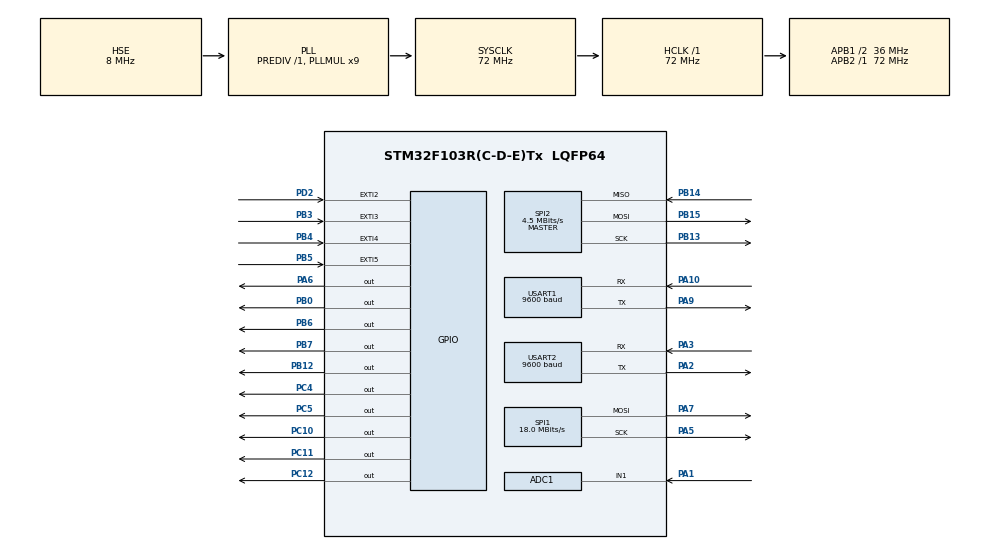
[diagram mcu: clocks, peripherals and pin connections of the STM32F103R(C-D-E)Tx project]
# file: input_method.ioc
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ADC1.Channel-0\#ChannelRegularConversion=ADC_CHANNEL_1
ADC1.ContinuousConvMode=DISABLE
ADC1.NbrOfConversionFlag=1
ADC1.Rank-0\#ChannelRegularConversion=1
ADC1.SamplingTime-0\#ChannelRegularConversion=ADC_SAMPLETIME_1CYCLE_5
ADC1.master=1
Dma.Request0=USART1_RX
Dma.Request1=USART1_TX
Dma.Request2=USART2_RX
Dma.Request3=USART2_TX
Dma.Request4=SPI1_TX
Dma.SPI1_TX.4.Direction=DMA_MEMORY_TO_PERIPH
Dma.SPI1_TX.4.Instance=DMA1_Channel3
Dma.SPI1_TX.4.MemDataAlignment=DMA_MDATAALIGN_BYTE
Dma.SPI1_TX.4.MemInc=DMA_MINC_ENABLE
Dma.SPI1_TX.4.Mode=DMA_NORMAL
Dma.SPI1_TX.4.PeriphDataAlignment=DMA_PDATAALIGN_BYTE
Dma.SPI1_TX.4.PeriphInc=DMA_PINC_DISABLE
Dma.SPI1_TX.4.Priority=DMA_PRIORITY_LOW
Dma.USART1_RX.0.Direction=DMA_PERIPH_TO_MEMORY
Dma.USART1_RX.0.Instance=DMA1_Channel5
Dma.USART1_RX.0.MemDataAlignment=DMA_MDATAALIGN_BYTE
Dma.USART1_RX.0.MemInc=DMA_MINC_ENABLE
Dma.USART1_RX.0.Mode=DMA_NORMAL
Dma.USART1_RX.0.PeriphDataAlignment=DMA_PDATAALIGN_BYTE
Dma.USART1_RX.0.PeriphInc=DMA_PINC_DISABLE
Dma.USART1_RX.0.Priority=DMA_PRIORITY_LOW
Dma.USART1_TX.1.Direction=DMA_MEMORY_TO_PERIPH
Dma.USART1_TX.1.Instance=DMA1_Channel4
Dma.USART1_TX.1.MemDataAlignment=DMA_MDATAALIGN_BYTE
Dma.USART1_TX.1.MemInc=DMA_MINC_ENABLE
Dma.USART1_TX.1.Mode=DMA_NORMAL
Dma.USART1_TX.1.PeriphDataAlignment=DMA_PDATAALIGN_BYTE
Dma.USART1_TX.1.PeriphInc=DMA_PINC_DISABLE
Dma.USART1_TX.1.Priority=DMA_PRIORITY_LOW
Dma.USART2_RX.2.Direction=DMA_PERIPH_TO_MEMORY
Dma.USART2_RX.2.Instance=DMA1_Channel6
Dma.USART2_RX.2.MemDataAlignment=DMA_MDATAALIGN_BYTE
Dma.USART2_RX.2.MemInc=DMA_MINC_ENABLE
Dma.USART2_RX.2.Mode=DMA_NORMAL
Dma.USART2_RX.2.PeriphDataAlignment=DMA_PDATAALIGN_BYTE
Dma.USART2_RX.2.PeriphInc=DMA_PINC_DISABLE
Dma.USART2_RX.2.Priority=DMA_PRIORITY_LOW
Dma.USART2_TX.3.Direction=DMA_MEMORY_TO_PERIPH
Dma.USART2_TX.3.Instance=DMA1_Channel7
Dma.USART2_TX.3.MemDataAlignment=DMA_MDATAALIGN_BYTE
Dma.USART2_TX.3.MemInc=DMA_MINC_ENABLE
Dma.USART2_TX.3.Mode=DMA_NORMAL
Dma.USART2_TX.3.PeriphDataAlignment=DMA_PDATAALIGN_BYTE
Dma.USART2_TX.3.PeriphInc=DMA_PINC_DISABLE
Dma.USART2_TX.3.Priority=DMA_PRIORITY_LOW
Mcu.Family=STM32F1
Mcu.Name=STM32F103R(C-D-E)Tx
Mcu.Package=LQFP64
NVIC.DMA1_Channel3_IRQn=true\:0\:0\:false\:false\:true\:false\:true\:true
NVIC.DMA1_Channel4_IRQn=true\:0\:0\:false\:false\:true\:false\:true\:true
NVIC.DMA1_Channel5_IRQn=true\:0\:0\:false\:false\:true\:false\:true\:true
NVIC.DMA1_Channel6_IRQn=true\:0\:0\:false\:false\:true\:false\:true\:true
NVIC.DMA1_Channel7_IRQn=true\:0\:0\:false\:false\:true\:false\:true\:true
NVIC.EXTI2_IRQn=true\:2\:0\:true\:false\:true\:true\:true\:true
NVIC.EXTI3_IRQn=true\:2\:0\:true\:false\:true\:true\:true\:true
NVIC.EXTI4_IRQn=true\:2\:0\:true\:false\:true\:true\:true\:true
NVIC.EXTI9_5_IRQn=true\:2\:0\:true\:false\:true\:true\:true\:true
NVIC.PriorityGroup=NVIC_PRIORITYGROUP_4
NVIC.SPI1_IRQn=true\:2\:0\:true\:false\:true\:true\:true\:true
NVIC.TIM6_IRQn=true\:1\:0\:true\:false\:true\:true\:true\:true
NVIC.TIM7_IRQn=true\:1\:0\:true\:false\:true\:true\:true\:true
NVIC.USART1_IRQn=true\:0\:0\:false\:false\:true\:true\:true\:true
NVIC.USART2_IRQn=true\:0\:0\:false\:false\:true\:true\:true\:true
PA1.Signal=ADCx_IN1
PA10.Mode=Asynchronous
PA10.Signal=USART1_RX
PA13.Mode=Serial_Wire
PA13.Signal=SYS_JTMS-SWDIO
PA14.Mode=Serial_Wire
PA14.Signal=SYS_JTCK-SWCLK
PA2.Mode=Asynchronous
PA2.Signal=USART2_TX
PA3.Mode=Asynchronous
PA3.Signal=USART2_RX
PA5.Mode=TX_Only_Simplex_Unidirect_Master
PA5.Signal=SPI1_SCK
PA6.Signal=GPIO_Output
PA7.Mode=TX_Only_Simplex_Unidirect_Master
PA7.Signal=SPI1_MOSI
PA9.Mode=Asynchronous
PA9.Signal=USART1_TX
PB0.Signal=GPIO_Output
PB12.Signal=GPIO_Output
PB13.Mode=Full_Duplex_Master
PB13.Signal=SPI2_SCK
PB14.Mode=Full_Duplex_Master
PB14.Signal=SPI2_MISO
PB15.Mode=Full_Duplex_Master
PB15.Signal=SPI2_MOSI
PB3.GPIO_ModeDefaultEXTI=GPIO_MODE_IT_FALLING
PB3.GPIO_PuPd=GPIO_PULLUP
PB3.Signal=GPXTI3
PB4.GPIO_ModeDefaultEXTI=GPIO_MODE_IT_FALLING
PB4.GPIO_PuPd=GPIO_PULLUP
PB4.Signal=GPXTI4
PB5.GPIO_ModeDefaultEXTI=GPIO_MODE_IT_FALLING
PB5.GPIO_PuPd=GPIO_PULLUP
PB5.Signal=GPXTI5
PB6.GPIO_ModeDefaultOutputPP=GPIO_MODE_OUTPUT_OD
PB6.GPIO_PuPd=GPIO_NOPULL
PB6.Signal=GPIO_Output
PB7.GPIO_ModeDefaultOutputPP=GPIO_MODE_OUTPUT_OD
PB7.GPIO_PuPd=GPIO_NOPULL
PB7.Signal=GPIO_Output
PC10.GPIO_PuPd=GPIO_PULLDOWN
PC10.Signal=GPIO_Output
PC11.GPIO_PuPd=GPIO_PULLDOWN
PC11.Signal=GPIO_Output
PC12.GPIO_PuPd=GPIO_PULLDOWN
PC12.Signal=GPIO_Output
PC4.Signal=GPIO_Output
PC5.Signal=GPIO_Output
PD0-OSC_IN.Mode=HSE-External-Oscillator
PD0-OSC_IN.Signal=RCC_OSC_IN
PD1-OSC_OUT.Mode=HSE-External-Oscillator
PD1-OSC_OUT.Signal=RCC_OSC_OUT
PD2.GPIO_ModeDefaultEXTI=GPIO_MODE_IT_FALLING
PD2.GPIO_PuPd=GPIO_PULLUP
PD2.Signal=GPXTI2
ProjectManager.HeapSize=0x200
ProjectManager.StackSize=0x400
ProjectManager.TargetToolchain=Makefile
RCC.ADCPresc=RCC_ADCPCLK2_DIV6
RCC.AHBFreq_Value=72000000
RCC.APB1CLKDivider=RCC_HCLK_DIV2
RCC.APB1Freq_Value=36000000
RCC.APB1TimFreq_Value=72000000
RCC.APB2Freq_Value=72000000
RCC.APB2TimFreq_Value=72000000
RCC.HCLKFreq_Value=72000000
RCC.PLLMUL=RCC_PLL_MUL9
RCC.PLLSourceVirtual=RCC_PLLSOURCE_HSE
RCC.SYSCLKFreq_VALUE=72000000
RCC.SYSCLKSource=RCC_SYSCLKSOURCE_PLLCLK
RCC.USBFreq_Value=72000000
SH.ADCx_IN1.0=ADC1_IN1,IN1
SPI1.BaudRatePrescaler=SPI_BAUDRATEPRESCALER_4
SPI1.CalculateBaudRate=18.0 MBits/s
SPI1.Direction=SPI_DIRECTION_2LINES
SPI1.Mode=SPI_MODE_MASTER
SPI1.VirtualType=VM_MASTER
SPI2.BaudRatePrescaler=SPI_BAUDRATEPRESCALER_8
SPI2.CLKPhase=SPI_PHASE_2EDGE
SPI2.CLKPolarity=SPI_POLARITY_HIGH
SPI2.CalculateBaudRate=4.5 MBits/s
SPI2.Direction=SPI_DIRECTION_2LINES
SPI2.Mode=SPI_MODE_MASTER
SPI2.VirtualType=VM_MASTER
TIM5.Prescaler=71
TIM6.Period=49999
TIM6.Prescaler=71
TIM7.Period=49999
TIM7.Prescaler=71
USART1.BaudRate=9600
USART1.VirtualMode=VM_ASYNC
USART2.BaudRate=9600
USART2.VirtualMode=VM_ASYNC
VP_TIM5_VS_ClockSourceINT.Mode=Internal
VP_TIM6_VS_ClockSourceINT.Mode=Enable_Timer
VP_TIM7_VS_ClockSourceINT.Mode=Enable_Timer
board=custom

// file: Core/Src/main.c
/* USER CODE BEGIN Header */
/**
  ******************************************************************************
  * @file           : main.c
  * @brief          : Main program body
  ******************************************************************************
  * @attention
  *
  * Copyright (c) 2024 STMicroelectronics.
  * All rights reserved.
  *
  * This software is licensed under terms that can be found in the LICENSE file
  * in the root directory of this software component.
  * If no LICENSE file comes with this software, it is provided AS-IS.
  *
  ******************************************************************************
  */
/* USER CODE END Header */
#include "main.h"
#include "adc.h"
#include "dma.h"
#include "spi.h"
#include "tim.h"
#include "usart.h"
#include "gpio.h"

/* USER CODE BEGIN Includes */
#include "inputmethod_app.h"
#include "route_app.h"
#include "search_app.h"
#include "keyarray.h"
#include "bsp_log.h"
/* USER CODE END Includes */

/* USER CODE BEGIN PV */
InputMethod* inputmethod;
W25Q* w25q;
TFT* tft;
KeyArray* keyarray;

GPS* gps;
ESP32* esp32;

InputMethodApp* inputmethodapp;
RouteApp* routeapp;
SearchApp* searchapp;

// 前台应用
void* foreground_app;
// 信号量
uint8_t signal_flag = 0;

/* USER CODE END PV */

void SystemClock_Config(void);

int main(void)
{

  /* MCU Configuration--------------------------------------------------------*/

  /* Reset of all peripherals, Initializes the Flash interface and the Systick. */
  HAL_Init();

  /* Configure the system clock */
  SystemClock_Config();

  /* Initialize all configured peripherals */
  MX_GPIO_Init();
  MX_DMA_Init();
  MX_SPI1_Init();
  MX_SPI2_Init();
  MX_TIM5_Init();
  MX_USART1_UART_Init();
  MX_TIM6_Init();
  MX_USART2_UART_Init();
  MX_ADC1_Init();
  MX_TIM7_Init();
  /* USER CODE BEGIN 2 */
  BSP_Log_Init();
  // HAL Layer init
  GPIO_TypeDef* row_gpio[KEY_ROW] = {GPIOC, GPIOC, GPIOC};
  uint16_t row_pin[KEY_ROW] = {1 << 10, 1 << 11, 1 << 12};
  GPIO_TypeDef* col_gpio[KEY_COL] = {GPIOD, GPIOB, GPIOB, GPIOB};
  uint16_t col_pin[KEY_COL] = {1 << 2, 1 << 3, 1 << 4, 1 << 5};
  keyarray = KeyArray_Init(row_gpio, row_pin, col_gpio, col_pin);

  w25q = W25Q_Init(&hspi2, GPIOB, 1 << 12);
  inputmethod = InputMethod_Init();
  gps = GPS_Init(&huart1, &htim6);
  esp32 = ESP32_Init(&huart2);
  tft = TFT_Init(&hspi1, GPIOC, 1 << 4, GPIOB, 1 << 0, GPIOC, 1 << 5, GPIOA, 1 << 6);
  TFT_HardInit(tft);

  // APP Layer init
  inputmethodapp = InputMethodApp_Init(inputmethod, w25q, tft);
  routeapp = RouteApp_Init(&htim7, &hadc1, tft, gps, esp32, inputmethod, w25q);
  searchapp = SearchApp_Init(w25q, tft, esp32, gps);

  InputMethodApp_Load(inputmethodapp);
  gps->data.latitude = 22.581946;
  gps->data.longitude = 113.965307;

  foreground_app = inputmethodapp;
  InputMethodApp_UpdateInput(inputmethodapp);
  InputMethodApp_UpdateSelection(inputmethodapp);
  InputMethodApp_UpdateTyped(inputmethodapp);

  /* USER CODE END 2 */

  /* Infinite loop */
  while (1)
  {
    /* USER CODE BEGIN 3 */

    if(signal_flag == 0x10){
      InputMethodApp_Delete(inputmethodapp);
      signal_flag = 0;
    }
    if(signal_flag == 0x11){
      InputMethodApp_Up(inputmethodapp);
      signal_flag = 0;
    }
    if(signal_flag == 0x12){
      InputMethodApp_Ascii(inputmethodapp);
      signal_flag = 0;
    }
    if(signal_flag == 0x13){
      RouteApp_SendSearchingMessage(routeapp);
      signal_flag = 0;
    }
    if(signal_flag == 0x14){
      InputMethodApp_Prev(inputmethodapp);
      signal_flag = 0;
    }
    if(signal_flag == 0x15){
      InputMethodApp_Ensure(inputmethodapp);
      signal_flag = 0;
    }
    if(signal_flag == 0x16){
      InputMethodApp_Next(inputmethodapp);
      signal_flag = 0;
    }
    if(signal_flag == 0x17){
      signal_flag = 0;
    }
    if(signal_flag == 0x18){
      InputMethodApp_Clear(inputmethodapp);
      signal_flag = 0;
    }
    if(signal_flag == 0x19){
      InputMethodApp_Down(inputmethodapp);
      signal_flag = 0;
    }
    if(signal_flag == 0x1A){
      signal_flag = 0;
    }
    if(signal_flag == 0x1B){
      InputMethodApp_Switch(inputmethodapp);
      signal_flag = 0;
    }
    if(signal_flag == 0x20){
      foreground_app = inputmethodapp;
      TFT_Fill(routeapp->tft, 0, 30, 320, 41, 0);
      InputMethodApp_UpdateInput(inputmethodapp);
      InputMethodApp_UpdateSelection(inputmethodapp);
      InputMethodApp_UpdateTyped(inputmethodapp);
      signal_flag = 0;
    }
    if(signal_flag == 0x21){
      SearchApp_Up(searchapp);
      signal_flag = 0;
    }
    if(signal_flag == 0x22){
      signal_flag = 0;
    }
    if(signal_flag == 0x23){
      SearchApp_Send(searchapp);
      signal_flag = 0;
    }
    if(signal_flag == 0x24){
      signal_flag = 0;
    }
    if(signal_flag == 0x25){
      SearchApp_Send(searchapp);
      signal_flag = 0;
    }
    if(signal_flag == 0x26){
      signal_flag = 0;
    }
    if(signal_flag == 0x27){
      signal_flag = 0;
    }
    if(signal_flag == 0x28){
      signal_flag = 0;
    }
    if(signal_flag == 0x29){
      SearchApp_Down(searchapp);
      signal_flag = 0;
    }
    if(signal_flag == 0x2A){
      signal_flag = 0;
    }
    if(signal_flag == 0x2B){
      signal_flag = 0;
    }
    if(signal_flag == 0x2F){  // 搜索到地点
      foreground_app = searchapp;
      SearchApp_UpdateName(searchapp);
      SearchApp_UpdateSelection(searchapp);
      signal_flag = 0;
    }
    if(signal_flag == 0x30){
      foreground_app = inputmethodapp;
      TFT_Fill(routeapp->tft, 0, 30, 320, 41, 0);
      InputMethodApp_UpdateInput(inputmethodapp);
      InputMethodApp_UpdateSelection(inputmethodapp);
      InputMethodApp_UpdateTyped(inputmethodapp);
      signal_flag = 0;
    }
    if(signal_flag == 0x31){
      if(!gps->watchdog_count) gps->data.latitude += GPS_OFFLINE_ADJUST_STEP;
      signal_flag = 0;
    }
    if(signal_flag == 0x32){
      routeapp->zoom_rate_temp *= 1.2589254f;  // 2dB
      if(routeapp->zoom_rate_temp >= 10) routeapp->zoom_rate_temp = 10;
      signal_flag = 0;
    }
    if(signal_flag == 0x33){
      SearchApp_Send(searchapp);
      signal_flag = 0;
    }
    if(signal_flag == 0x34){
      if(!gps->watchdog_count) gps->data.longitude -= GPS_OFFLINE_ADJUST_STEP;
      signal_flag = 0;
    }
    if(signal_flag == 0x35){
      routeapp->zoom_rate = routeapp->zoom_rate_temp;
      signal_flag = 0x3F;
    }
    if(signal_flag == 0x36){
      if(!gps->watchdog_count) gps->data.longitude += GPS_OFFLINE_ADJUST_STEP;
      signal_flag = 0;
    }
    if(signal_flag == 0x37){
      signal_flag = 0;
    }
    if(signal_flag == 0x38){
      InputMethodApp_Clear(inputmethodapp);
      signal_flag = 0;
    }
    if(signal_flag == 0x39){
      if(!gps->watchdog_count) gps->data.latitude -= GPS_OFFLINE_ADJUST_STEP;
      signal_flag = 0;
    }
    if(signal_flag == 0x3A){
      routeapp->zoom_rate_temp /= 1.2589254f;
      if(routeapp->zoom_rate_temp <= 1) routeapp->zoom_rate_temp = 1;
    }
    if(signal_flag == 0x3B){
      signal_flag = 0;
    }
    if(signal_flag == 0x3E){  // 规划成功
      InputMethodApp_Save(inputmethodapp);
      routeapp->mileage = 0;
      routeapp->zoom_rate = 1;
      routeapp->zoom_rate_temp = 1;
      routeapp->show_center = routeapp->esp32->rx_data_temp.routepoint.center;
      TFT_Fill(routeapp->tft, 0, 0, 320, 241, 0);
      RouteApp_SetStatus(routeapp);
      foreground_app = routeapp;
      signal_flag = 0x3F;
    }
    if(signal_flag == 0x3F){  // 手动修改zoom大小, 或是规划成功后初始化路径显示
      RouteApp_SetRoute(routeapp);
      signal_flag = 0;
    }
    if(signal_flag >= 0xF0 && signal_flag <= 0xFF){  // 规划失败
      RouteApp_ShowError(routeapp);
      signal_flag = 0;
    }
    HAL_Delay(50);
  }
  /* USER CODE END 3 */
}

void SystemClock_Config(void)
{
  RCC_OscInitTypeDef RCC_OscInitStruct = {0};
  RCC_ClkInitTypeDef RCC_ClkInitStruct = {0};
  RCC_PeriphCLKInitTypeDef PeriphClkInit = {0};

  /** Initializes the RCC Oscillators according to the specified parameters
  * in the RCC_OscInitTypeDef structure.
  */
  RCC_OscInitStruct.OscillatorType = RCC_OSCILLATORTYPE_HSE;
  RCC_OscInitStruct.HSEState = RCC_HSE_ON;
  RCC_OscInitStruct.HSEPredivValue = RCC_HSE_PREDIV_DIV1;
  RCC_OscInitStruct.HSIState = RCC_HSI_ON;
  RCC_OscInitStruct.PLL.PLLState = RCC_PLL_ON;
  RCC_OscInitStruct.PLL.PLLSource = RCC_PLLSOURCE_HSE;
  RCC_OscInitStruct.PLL.PLLMUL = RCC_PLL_MUL9;
  if (HAL_RCC_OscConfig(&RCC_OscInitStruct) != HAL_OK)
  {
    Error_Handler();
  }

  /** Initializes the CPU, AHB and APB buses clocks
  */
  RCC_ClkInitStruct.ClockType = RCC_CLOCKTYPE_HCLK|RCC_CLOCKTYPE_SYSCLK
                              |RCC_CLOCKTYPE_PCLK1|RCC_CLOCKTYPE_PCLK2;
  RCC_ClkInitStruct.SYSCLKSource = RCC_SYSCLKSOURCE_PLLCLK;
  RCC_ClkInitStruct.AHBCLKDivider = RCC_SYSCLK_DIV1;
  RCC_ClkInitStruct.APB1CLKDivider = RCC_HCLK_DIV2;
  RCC_ClkInitStruct.APB2CLKDivider = RCC_HCLK_DIV1;

  if (HAL_RCC_ClockConfig(&RCC_ClkInitStruct, FLASH_LATENCY_2) != HAL_OK)
  {
    Error_Handler();
  }
  PeriphClkInit.PeriphClockSelection = RCC_PERIPHCLK_ADC;
  PeriphClkInit.AdcClockSelection = RCC_ADCPCLK2_DIV6;
  if (HAL_RCCEx_PeriphCLKConfig(&PeriphClkInit) != HAL_OK)
  {
    Error_Handler();
  }
}

/* USER CODE BEGIN 4 */
void HAL_GPIO_EXTI_Callback(uint16_t GPIO_Pin){
  uint8_t keydown = 0;
  for(int i = 0; i < 4; i++){
    if(GPIO_Pin == keyarray->col_pin[i]){
      keydown = 1;
      break;
    }
  }
  if(keydown){ // pin = 2/3/4/5
    if(HAL_GetTick() - keyarray->last_irq_time < 200) return;  // 限制中断触发频率
    KeyArray_Judge(keyarray, GPIO_Pin);

    signal_flag = keyarray->now_key;
    if(foreground_app == inputmethodapp) signal_flag += 0x10;
    if(foreground_app == searchapp) signal_flag += 0x20;
    if(foreground_app == routeapp) signal_flag += 0x30;

    keyarray->last_irq_time = HAL_GetTick();
    keyarray->now_key = 0;
  }
}

// 串口空闲中断
void My_UART_IRQHandler(UART_HandleTypeDef *huart){
  if(huart == gps->huart){
    // 判断是否为空闲中断
    if(RESET != __HAL_UART_GET_FLAG(gps->huart, UART_FLAG_IDLE)){
      GPS_RxCallback(gps);
    }
  }
  if(huart == esp32->huart){
    if(RESET != __HAL_UART_GET_FLAG(esp32->huart, UART_FLAG_IDLE)){
      ESP32_RxCallback(esp32);
    }
  }
}

// 定时器中断
void HAL_TIM_PeriodElapsedCallback(TIM_HandleTypeDef *htim){
  if(htim == gps->watchdog_htim){
    // GPS看门狗, 周期50ms
    // 5s未收到有效数据认为失去信号
    if(gps->watchdog_count){
        gps->watchdog_count--;
    } else gps->online_count = 0;
  }
  if(htim == routeapp->update_htim){
    if(foreground_app == routeapp){
      routeapp->update_count++;
      routeapp->update_count %= 100;  // 20 -> 1s
      if(routeapp->update_count % 20 == 0) {
        Point pos = {gps->data.longitude, gps->data.latitude};
        if(RouteApp_IsOutRange(routeapp, pos)){
          routeapp->show_center = pos;
          signal_flag = 0x3F;
        }
        else RouteApp_UpdateRoute(routeapp);
        RouteApp_UpdateStatus(routeapp);
      }
    }
  }
}

/* USER CODE END 4 */

void Error_Handler(void)
{
  __disable_irq();
  while (1)
  {
  }
}
